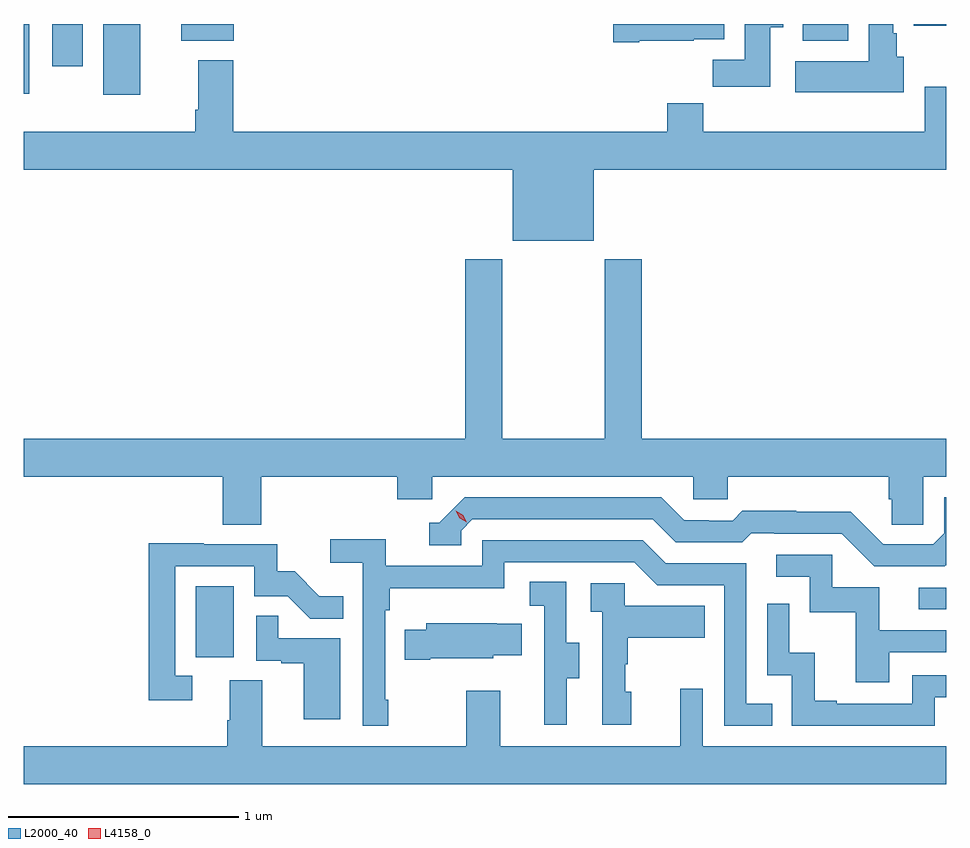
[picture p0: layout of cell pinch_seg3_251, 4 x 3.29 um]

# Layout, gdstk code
import gdstk
lib = gdstk.Library(unit=1e-6, precision=1e-09)
def R(c, l, rs):  # rectangles x0, y0, x1, y1
    for r in rs: c.add(gdstk.rectangle(r[:2], r[2:], *l))
def P(c, l, *ps):  # polygons
    for p in ps: c.add(gdstk.Polygon(p, *l))
L2000_40 = (2000, 40)
L4158_0 = (4158, 0)

pinch_seg3_251 = lib.new_cell('pinch_seg3_251')
R(pinch_seg3_251, L2000_40, [(937.88,724.11,938.044,724.417), (941.013,724.317,941.133,724.41), (937.478,726.549,937.639,726.855), (937.133,726.552,937.156,726.855), (937.256,726.672,937.39,726.855), (937.817,726.782,938.044,726.855), (940.511,726.782,940.708,726.855), (940.991,726.848,941.133,726.855)])
P(pinch_seg3_251, L2000_40, [(940.948,726.714),(940.918,726.714),(940.918,726.814),(940.903,726.814),(940.903,726.855),(940.796,726.855),(940.796,726.694),(940.479,726.694),(940.479,726.56),(940.948,726.56)],
  [(940.369,726.841),(940.426,726.841),(940.426,726.855),(940.259,726.855),(940.259,726.7),(940.12,726.7),(940.12,726.582),(940.369,726.582)],
  [(939.802,726.782),(940.038,726.782),(940.038,726.788),(940.171,726.788),(940.171,726.855),(939.69,726.855),(939.69,726.775),(939.802,726.775)],
  [(939.604,726.224),(941.133,726.224),(941.133,726.583),(941.039,726.583),(941.039,726.388),(940.079,726.388),(940.079,726.512),(939.923,726.512),(939.923,726.388),(938.042,726.388),(938.042,726.697),(937.889,726.697),(937.889,726.484),(937.877,726.484),(937.877,726.388),(937.133,726.388),(937.133,726.224),(939.254,726.224),(939.254,725.915),(939.604,725.915)],
  [(938.162,724.892),(938.753,724.892),(938.753,724.794),(938.904,724.794),(938.904,724.892),(940.035,724.892),(940.035,724.794),(940.185,724.794),(940.185,724.892),(940.883,724.892),(940.883,724.794),(940.897,724.794),(940.897,724.684),(941.034,724.684),(941.034,724.892),(941.133,724.892),(941.133,725.056),(939.812,725.056),(939.812,725.836),(939.652,725.836),(939.652,725.056),(939.207,725.056),(939.207,725.836),(939.047,725.836),(939.047,725.056),(937.133,725.056),(937.133,724.892),(937.997,724.892),(937.997,724.684),(938.162,724.684)],
  [(941.133,724.509),(941.133,724.803),(941.124,724.803),(941.124,724.647),(941.076,724.599),(940.86,724.599),(940.718,724.741),(940.482,724.741),(940.482,724.744),(940.249,724.744),(940.207,724.701),(940.104,724.701),(940.104,724.704),(939.997,724.704),(939.898,724.803),(939.045,724.803),(938.934,724.692),(938.891,724.692),(938.891,724.596),(939.03,724.596),(939.03,724.659),(939.078,724.707),(939.861,724.707),(939.96,724.608),(940.249,724.608),(940.288,724.647),(940.387,724.647),(940.387,724.644),(940.68,724.644),(940.821,724.503),(941.127,724.503)],
  [(938.713,723.925),(938.7,723.925),(938.7,724.313),(938.72,724.313),(938.72,724.409),(939.216,724.409),(939.216,724.521),(939.78,724.521),(939.879,724.422),(940.17,724.422),(940.17,723.813),(940.379,723.813),(940.379,723.909),(940.266,723.909),(940.266,724.518),(939.916,724.518),(939.817,724.617),(939.12,724.617),(939.12,724.506),(938.702,724.506),(938.702,724.622),(938.463,724.622),(938.463,724.52),(938.604,724.52),(938.604,723.813),(938.713,723.813)],
  [(937.864,724.029),(937.791,724.029),(937.791,724.503),(938.133,724.503),(938.133,724.374),(938.277,724.374),(938.375,724.276),(938.519,724.276),(938.519,724.375),(938.415,724.375),(938.308,724.482),(938.232,724.482),(938.232,724.599),(937.913,724.599),(937.913,724.604),(937.675,724.604),(937.675,723.924),(937.864,723.924)],
  [(940.885,724.131),(941.133,724.131),(941.133,724.227),(940.843,724.227),(940.843,724.413),(940.638,724.413),(940.638,724.554),(940.395,724.554),(940.395,724.458),(940.542,724.458),(940.542,724.305),(940.741,724.305),(940.741,724.002),(940.885,724.002)],
  [(939.487,724.018),(939.541,724.018),(939.541,724.173),(939.486,724.173),(939.486,724.436),(939.327,724.436),(939.327,724.333),(939.39,724.333),(939.39,724.029),(939.389,724.029),(939.389,723.816),(939.487,723.816)],
  [(939.766,723.96),(939.741,723.96),(939.741,724.079),(939.751,724.079),(939.751,724.193),(940.085,724.193),(940.085,724.333),(939.738,724.333),(939.738,724.431),(939.591,724.431),(939.591,724.307),(939.642,724.307),(939.642,723.816),(939.766,723.816)],
  [(941.082,723.936),(941.133,723.936),(941.133,724.032),(940.986,724.032),(940.986,723.909),(940.657,723.909),(940.657,723.922),(940.562,723.922),(940.562,724.13),(940.452,724.13),(940.452,724.342),(940.356,724.342),(940.356,724.032),(940.464,724.032),(940.464,723.813),(941.082,723.813)],
  [(938.506,724.191),(938.237,724.191),(938.237,724.289),(938.142,724.289),(938.142,724.095),(938.249,724.095),(938.249,724.083),(938.348,724.083),(938.348,723.84),(938.506,723.84)],
  [(938.896,724.106),(939.168,724.106),(939.168,724.118),(939.293,724.118),(939.293,724.255),(939.185,724.255),(939.185,724.258),(938.879,724.258),(938.879,724.228),(938.785,724.228),(938.785,724.099),(938.896,724.099)],
  [(941.133,723.724),(940.077,723.724),(940.077,723.973),(939.98,723.973),(939.98,723.724),(939.199,723.724),(939.199,723.964),(939.052,723.964),(939.052,723.724),(938.167,723.724),(938.167,724.01),(938.027,724.01),(938.027,723.836),(938.015,723.836),(938.015,723.724),(937.133,723.724),(937.133,723.56),(941.133,723.56)])
P(pinch_seg3_251, L4158_0, [(939.054,724.694),(939.023,724.712),(939.006,724.744),(939.006,724.744),(939.007,724.744),(939.038,724.726),(939.054,724.694),(939.054,724.694)])

lib.write_gds('pinch_seg3_251.gds')
